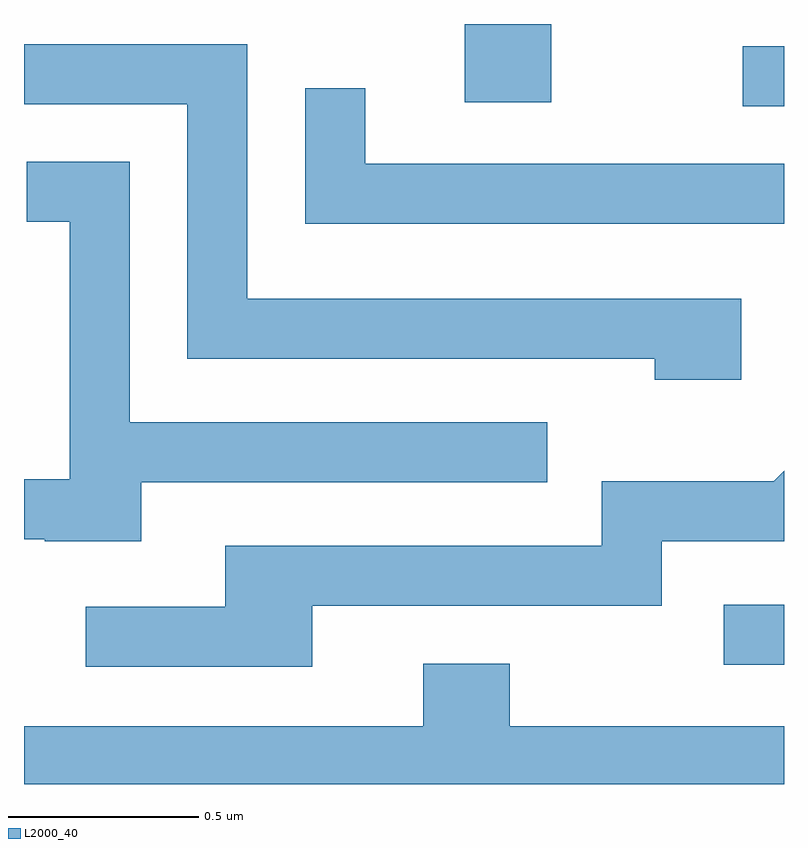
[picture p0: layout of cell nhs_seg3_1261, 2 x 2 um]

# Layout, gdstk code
import gdstk
lib = gdstk.Library(unit=1e-6, precision=1e-09)
def R(c, l, rs):  # rectangles x0, y0, x1, y1
    for r in rs: c.add(gdstk.rectangle(r[:2], r[2:], *l))
def P(c, l, *ps):  # polygons
    for p in ps: c.add(gdstk.Polygon(p, *l))
L2000_40 = (2000, 40)

nhs_seg3_1261 = lib.new_cell('nhs_seg3_1261')
R(nhs_seg3_1261, L2000_40, [(196.453,1144.206,196.611,1144.364), (196.503,1145.676,196.611,1145.834), (195.771,1145.686,195.999,1145.892)])
P(nhs_seg3_1261, L2000_40, [(196.499,1145.169),(195.199,1145.169),(195.199,1145.839),(194.611,1145.839),(194.611,1145.681),(195.041,1145.681),(195.041,1145.011),(196.271,1145.011),(196.271,1144.956),(196.499,1144.956)],
  [(196.611,1145.524),(195.509,1145.524),(195.509,1145.723),(195.351,1145.723),(195.351,1145.366),(196.611,1145.366)],
  [(194.919,1144.686),(195.988,1144.686),(195.988,1144.844),(194.889,1144.844),(194.889,1145.529),(194.618,1145.529),(194.618,1145.371),(194.731,1145.371),(194.731,1144.694),(194.611,1144.694),(194.611,1144.536),(194.665,1144.536),(194.665,1144.531),(194.919,1144.531)],
  [(195.369,1144.361),(196.289,1144.361),(196.289,1144.531),(196.611,1144.531),(196.611,1144.716),(196.584,1144.689),(196.131,1144.689),(196.131,1144.519),(195.141,1144.519),(195.141,1144.359),(194.773,1144.359),(194.773,1144.201),(195.369,1144.201)],
  [(196.611,1144.044),(195.889,1144.044),(195.889,1144.209),(195.661,1144.209),(195.661,1144.044),(194.611,1144.044),(194.611,1143.892),(196.611,1143.892)])

lib.write_gds('nhs_seg3_1261.gds')
